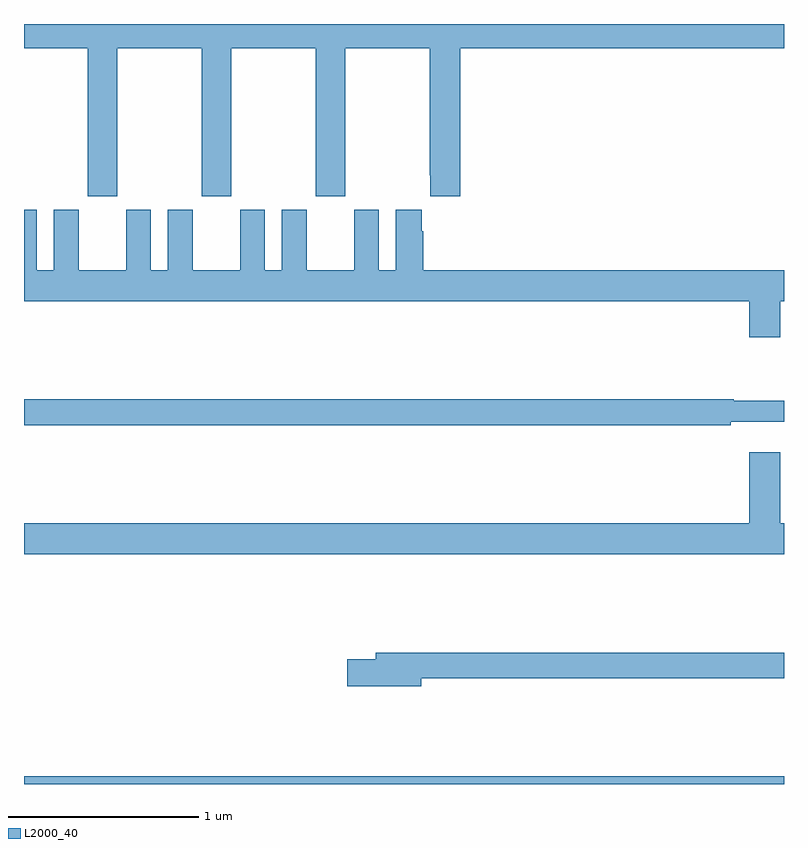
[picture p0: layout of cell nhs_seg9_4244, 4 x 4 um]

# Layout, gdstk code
import gdstk
lib = gdstk.Library(unit=1e-6, precision=1e-09)
def R(c, l, rs):  # rectangles x0, y0, x1, y1
    for r in rs: c.add(gdstk.rectangle(r[:2], r[2:], *l))
def P(c, l, *ps):  # polygons
    for p in ps: c.add(gdstk.Polygon(p, *l))
L2000_40 = (2000, 40)

nhs_seg9_4244 = lib.new_cell('nhs_seg9_4244')
R(nhs_seg9_4244, L2000_40, [(353,1240.5,357,1240.54)])
P(nhs_seg9_4244, L2000_40, [(353.49,1244.372),(353.935,1244.372),(353.935,1243.593),(354.09,1243.593),(354.09,1244.372),(354.535,1244.372),(354.535,1243.593),(354.69,1243.593),(354.69,1244.372),(355.135,1244.372),(355.135,1243.705),(355.139,1243.705),(355.139,1243.593),(355.295,1243.593),(355.295,1244.372),(357,1244.372),(357,1244.5),(353,1244.5),(353,1244.372),(353.335,1244.372),(353.335,1243.593),(353.49,1243.593)],
  [(356.816,1242.852),(356.98,1242.852),(356.98,1243.04),(357,1243.04),(357,1243.204),(355.1,1243.204),(355.1,1243.409),(355.093,1243.409),(355.093,1243.522),(354.956,1243.522),(354.956,1243.204),(354.868,1243.204),(354.868,1243.522),(354.737,1243.522),(354.737,1243.204),(354.487,1243.204),(354.487,1243.522),(354.356,1243.522),(354.356,1243.204),(354.268,1243.204),(354.268,1243.522),(354.137,1243.522),(354.137,1243.204),(353.887,1243.204),(353.887,1243.522),(353.756,1243.522),(353.756,1243.204),(353.668,1243.204),(353.668,1243.522),(353.537,1243.522),(353.537,1243.204),(353.287,1243.204),(353.287,1243.522),(353.156,1243.522),(353.156,1243.204),(353.068,1243.204),(353.068,1243.522),(353,1243.522),(353,1243.04),(356.816,1243.04)],
  [(356.72,1242.407),(357,1242.407),(357,1242.517),(356.735,1242.517),(356.735,1242.524),(353,1242.524),(353,1242.388),(356.72,1242.388)],
  [(357,1241.872),(356.98,1241.872),(356.98,1242.247),(356.816,1242.247),(356.816,1241.872),(353,1241.872),(353,1241.708),(357,1241.708)],
  [(355.09,1241.056),(357,1241.056),(357,1241.192),(354.851,1241.192),(354.851,1241.156),(354.702,1241.156),(354.702,1241.014),(355.09,1241.014)])

lib.write_gds('nhs_seg9_4244.gds')
